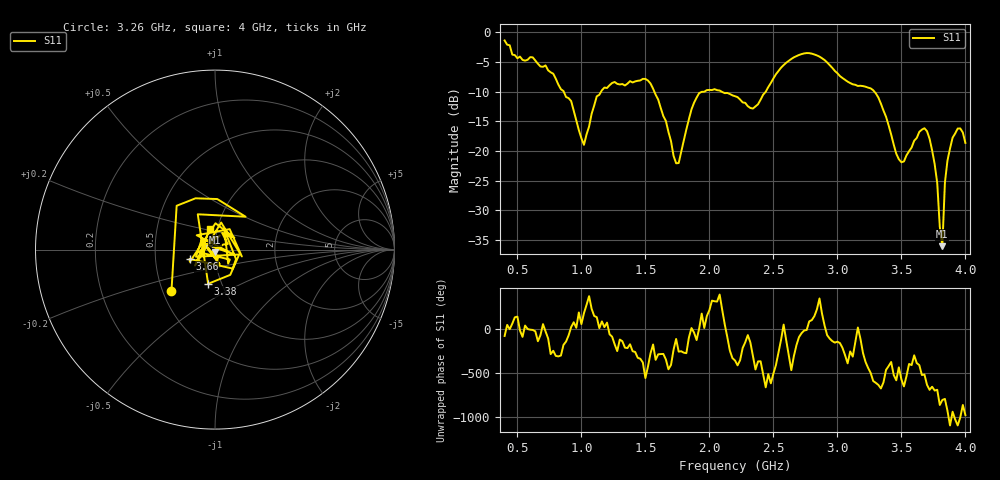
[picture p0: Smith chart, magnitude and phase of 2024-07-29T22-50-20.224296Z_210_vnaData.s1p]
!Created with skrf (http://scikit-rf.org).
# Hz S RI R 50.0
!freq ReS11 ImS11
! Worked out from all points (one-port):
!   181 points, 400 MHz to 4 GHz, reference 50 ohm
!   lowest |S11| = -36.0 dB at 3.82 GHz (marker M1), VSWR 1.03, Z = 50.1 - j1.57 ohm
!   |S11| at or under -10 dB: 1.57 GHz to 1.962 GHz (392.2 MHz wide, 22.2 % of centre); 2.095 GHz to 2.441 GHz (345.8 MHz wide, 15.2 % of centre); 3.289 GHz to end of sweep (the widest 3 of 4)
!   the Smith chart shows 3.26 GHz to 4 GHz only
!   S11 on the Smith chart (normalised r, x): 3.26 GHz: 0.55, -0.29; 3.38 GHz: 0.86, -0.34; 3.66 GHz: 0.75, -0.08; 4 GHz: 0.92, +0.21
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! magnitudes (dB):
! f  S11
! 400 MHz  -1.4
! 500 MHz  -4.4
! 720 MHz  -5.6
! 860 MHz  -9.9
! 920 MHz  -11.6
! 1.02 GHz  -19.0
! 1.12 GHz  -10.8
! 1.3 GHz  -8.8
! 1.54 GHz  -8.6
! 1.76 GHz  -22.0
! 1.92 GHz  -10.3
! 2.2 GHz  -10.8
! 2.34 GHz  -12.9
! 2.66 GHz  -4.2
! 2.84 GHz  -3.9
! 3.1 GHz  -8.6
! 3.26 GHz  -9.5
! 3.38 GHz  -14.2
! 3.48 GHz  -21.4
! 3.56 GHz  -20.0
! 3.66 GHz  -16.4
! 3.7 GHz  -16.7
! 3.76 GHz  -22.2
! 3.82 GHz  -36.0
! 3.84 GHz  -25.3
! 3.88 GHz  -19.6
! 3.94 GHz  -16.2
! 4 GHz  -18.6
